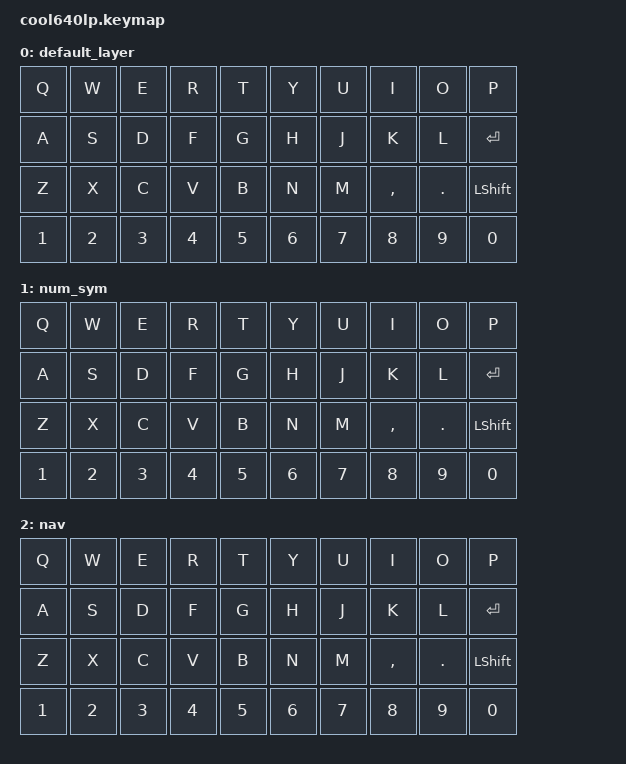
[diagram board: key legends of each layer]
/*
 * Copyright (c) 2020 The ZMK Contributors
 *
 * SPDX-License-Identifier: MIT
 */

#include <behaviors.dtsi>
#include <dt-bindings/zmk/keys.h>
#include <dt-bindings/zmk/bt.h>

#define DEFAULT 0
#define NUM_SYM 1
#define NAV     2

/ {
    behaviors {
        hm: homerow_mods {
            compatible = "zmk,behavior-hold-tap";
            #binding-cells = <2>;
            tapping-term-ms = <225>;
            flavor = "tap-preferred";
            bindings = <&kp>, <&kp>;
        };
    };
};

/ {
    keymap {
        compatible = "zmk,keymap";

        default_layer {
            bindings = <
    &kp Q      &kp W      &kp E       &kp R       &kp T  &kp Y  &kp U       &kp I       &kp O      &kp P
    &kp A      &kp S      &kp D       &kp F       &kp G  &kp H  &kp J       &kp K       &kp L      &kp RET
    &kp Z      &kp X      &kp C       &kp V       &kp B  &kp N  &kp M       &kp COMMA   &kp DOT    &kp LSHFT
    &kp 1      &kp 2      &kp 3       &kp 4       &kp 5  &kp 6  &kp 7       &kp 8       &kp 9      &kp 0
            >;
        };
        num_sym {
            bindings = <
    &kp Q      &kp W      &kp E       &kp R       &kp T  &kp Y  &kp U       &kp I       &kp O      &kp P
    &kp A      &kp S      &kp D       &kp F       &kp G  &kp H  &kp J       &kp K       &kp L      &kp RET
    &kp Z      &kp X      &kp C       &kp V       &kp B  &kp N  &kp M       &kp COMMA   &kp DOT    &kp LSHFT
    &kp 1      &kp 2      &kp 3       &kp 4       &kp 5  &kp 6  &kp 7       &kp 8       &kp 9      &kp 0            >;
        };

    nav {
            bindings = <
    &kp Q      &kp W      &kp E       &kp R       &kp T  &kp Y  &kp U       &kp I       &kp O      &kp P
    &kp A      &kp S      &kp D       &kp F       &kp G  &kp H  &kp J       &kp K       &kp L      &kp RET
    &kp Z      &kp X      &kp C       &kp V       &kp B  &kp N  &kp M       &kp COMMA   &kp DOT    &kp LSHFT
    &kp 1      &kp 2      &kp 3       &kp 4       &kp 5  &kp 6  &kp 7       &kp 8       &kp 9      &kp 0            >;
        };
    };
};
